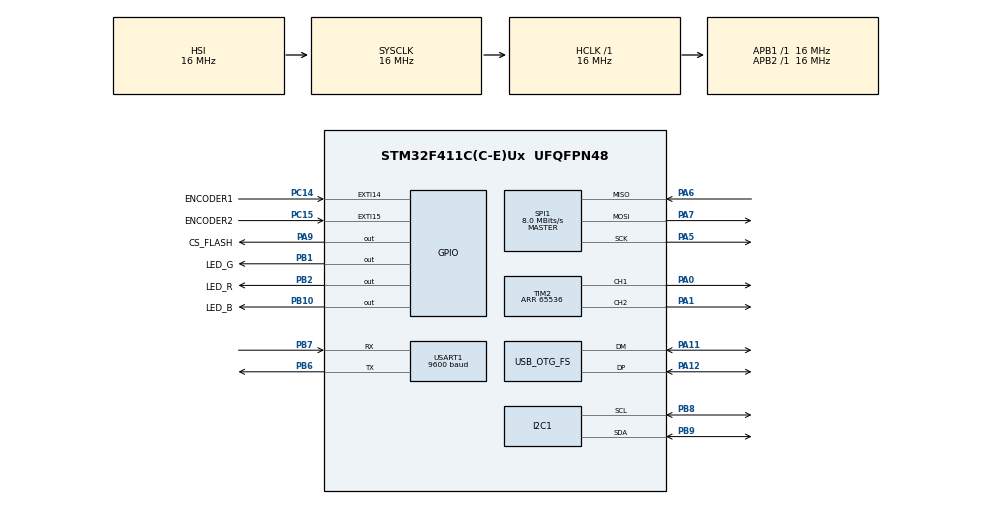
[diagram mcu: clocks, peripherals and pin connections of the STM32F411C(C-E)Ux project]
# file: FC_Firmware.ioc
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FREERTOS.BinarySemaphores01=sensor_semaphore,Dynamic,NULL,Depleted
FREERTOS.HEAP_NUMBER=4
FREERTOS.Tasks01=controller_task,24,256,controller_loop,Default,NULL,Dynamic,NULL,NULL;flash_task,8,512,flash_update,Default,NULL,Dynamic,NULL,NULL;imu_task,8,256,imu_update,Default,NULL,Dynamic,NULL,NULL;baro_task,8,256,baro_update,Default,NULL,Dynamic,NULL,NULL;gps_task,8,256,gps_update,Default,NULL,Dynamic,NULL,NULL;usb_task,8,128,usb_loop,Default,NULL,Dynamic,NULL,NULL;motor_task,8,128,motor_update,Default,NULL,Dynamic,NULL,NULL
FREERTOS.configCHECK_FOR_STACK_OVERFLOW=2
FREERTOS.configENABLE_FPU=1
FREERTOS.configTOTAL_HEAP_SIZE=65536
Mcu.Family=STM32F4
Mcu.Name=STM32F411C(C-E)Ux
Mcu.Package=UFQFPN48
NVIC.EXTI15_10_IRQn=true\:5\:0\:false\:false\:true\:true\:true\:true\:true
NVIC.I2C1_ER_IRQn=true\:5\:0\:false\:false\:true\:true\:true\:true\:true
NVIC.I2C1_EV_IRQn=true\:5\:0\:false\:false\:true\:true\:true\:true\:true
NVIC.OTG_FS_IRQn=true\:5\:0\:false\:false\:true\:true\:false\:true\:true
NVIC.PriorityGroup=NVIC_PRIORITYGROUP_4
NVIC.SPI1_IRQn=true\:5\:0\:false\:false\:true\:true\:true\:true\:true
NVIC.TIM1_UP_TIM10_IRQn=true\:15\:0\:false\:false\:true\:false\:false\:true\:true
NVIC.TimeBase=TIM1_UP_TIM10_IRQn
NVIC.TimeBaseIP=TIM10
NVIC.USART1_IRQn=true\:5\:0\:false\:false\:true\:true\:true\:true\:true
PA0-WKUP.Signal=S_TIM2_CH1_ETR
PA1.Signal=S_TIM2_CH2
PA11.Mode=Device_Only
PA11.Signal=USB_OTG_FS_DM
PA12.Mode=Device_Only
PA12.Signal=USB_OTG_FS_DP
PA5.Mode=Full_Duplex_Master
PA5.Signal=SPI1_SCK
PA6.Mode=Full_Duplex_Master
PA6.Signal=SPI1_MISO
PA7.Mode=Full_Duplex_Master
PA7.Signal=SPI1_MOSI
PA9.GPIO_Label=CS_FLASH
PA9.Signal=GPIO_Output
PB1.GPIO_Label=LED_G
PB1.Signal=GPIO_Output
PB10.GPIO_Label=LED_B
PB10.Signal=GPIO_Output
PB2.GPIO_Label=LED_R
PB2.Signal=GPIO_Output
PB6.Mode=Asynchronous
PB6.Signal=USART1_TX
PB7.Mode=Asynchronous
PB7.Signal=USART1_RX
PB8.Mode=I2C
PB8.Signal=I2C1_SCL
PB9.Mode=I2C
PB9.Signal=I2C1_SDA
PC14-OSC32_IN.GPIO_Label=ENCODER1
PC14-OSC32_IN.GPIO_ModeDefaultEXTI=GPIO_MODE_IT_RISING_FALLING
PC14-OSC32_IN.Signal=GPXTI14
PC15-OSC32_OUT.GPIO_Label=ENCODER2
PC15-OSC32_OUT.GPIO_ModeDefaultEXTI=GPIO_MODE_IT_RISING_FALLING
PC15-OSC32_OUT.Signal=GPXTI15
PH0\ -\ OSC_IN.Mode=HSE-External-Oscillator
PH0\ -\ OSC_IN.Signal=RCC_OSC_IN
PH1\ -\ OSC_OUT.Mode=HSE-External-Oscillator
PH1\ -\ OSC_OUT.Signal=RCC_OSC_OUT
ProjectManager.HeapSize=0x1600
ProjectManager.StackSize=0x6400
ProjectManager.TargetToolchain=CMake
RCC.48MHZClocksFreq_Value=48000000
RCC.AHBFreq_Value=16000000
RCC.APB1Freq_Value=16000000
RCC.APB2Freq_Value=16000000
RCC.CortexFreq_Value=16000000
RCC.HSE_VALUE=16000000
RCC.HSI_VALUE=16000000
RCC.LSE_VALUE=32768
RCC.PLLM=8
RCC.PLLN=72
RCC.PLLQ=3
RCC.SYSCLKFreq_VALUE=16000000
RCC.VCOOutputFreq_Value=144000000
SH.S_TIM2_CH1_ETR.0=TIM2_CH1,PWM Generation1 CH1
SH.S_TIM2_CH2.0=TIM2_CH2,PWM Generation2 CH2
SPI1.CalculateBaudRate=8.0 MBits/s
SPI1.Direction=SPI_DIRECTION_2LINES
SPI1.Mode=SPI_MODE_MASTER
SPI1.VirtualType=VM_MASTER
TIM2.AutoReloadPreload=TIM_AUTORELOAD_PRELOAD_ENABLE
TIM2.Channel-PWM\ Generation1\ CH1=TIM_CHANNEL_1
TIM2.Channel-PWM\ Generation2\ CH2=TIM_CHANNEL_2
TIM2.OCMode_PWM-PWM\ Generation1\ CH1=TIM_OCMODE_PWM1
TIM2.Period=65536
USART1.BaudRate=9600
USART1.VirtualMode=VM_ASYNC
USB_DEVICE.CLASS_NAME_FS=CDC
USB_DEVICE.VirtualMode=Cdc
USB_DEVICE.VirtualModeFS=Cdc_FS
USB_OTG_FS.VirtualMode=Device_Only
VP_FREERTOS_VS_CMSIS_V2.Mode=CMSIS_V2
VP_SYS_VS_tim10.Mode=TIM10
VP_TIM2_VS_ClockSourceINT.Mode=Internal
VP_USB_DEVICE_VS_USB_DEVICE_CDC_FS.Mode=CDC_FS
board=custom

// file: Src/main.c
/* USER CODE BEGIN Header */
/**
  ******************************************************************************
  * @file           : main.c
  * @brief          : Main program body
  ******************************************************************************
  * @attention
  *
  * Copyright (c) 2025 STMicroelectronics.
  * All rights reserved.
  *
  * This software is licensed under terms that can be found in the LICENSE file
  * in the root directory of this software component.
  * If no LICENSE file comes with this software, it is provided AS-IS.
  *
  ******************************************************************************
  */
/* USER CODE END Header */
#include "main.h"
#include "cmsis_os.h"
#include "usb_device.h"

/* USER CODE BEGIN Includes */
#include <airbrakes.h>
#include <cli.h>
/* USER CODE END Includes */

I2C_HandleTypeDef hi2c1;

SPI_HandleTypeDef hspi1;

TIM_HandleTypeDef htim2;

UART_HandleTypeDef huart1;

/* Definitions for controller_task */
osThreadId_t controller_taskHandle;
const osThreadAttr_t controller_task_attributes = {
  .name = "controller_task",
  .stack_size = 256 * 4,
  .priority = (osPriority_t) osPriorityNormal,
};
/* Definitions for flash_task */
osThreadId_t flash_taskHandle;
const osThreadAttr_t flash_task_attributes = {
  .name = "flash_task",
  .stack_size = 512 * 4,
  .priority = (osPriority_t) osPriorityLow,
};
/* Definitions for imu_task */
osThreadId_t imu_taskHandle;
const osThreadAttr_t imu_task_attributes = {
  .name = "imu_task",
  .stack_size = 256 * 4,
  .priority = (osPriority_t) osPriorityLow,
};
/* Definitions for baro_task */
osThreadId_t baro_taskHandle;
const osThreadAttr_t baro_task_attributes = {
  .name = "baro_task",
  .stack_size = 256 * 4,
  .priority = (osPriority_t) osPriorityLow,
};
/* Definitions for gps_task */
osThreadId_t gps_taskHandle;
const osThreadAttr_t gps_task_attributes = {
  .name = "gps_task",
  .stack_size = 256 * 4,
  .priority = (osPriority_t) osPriorityLow,
};
/* Definitions for usb_task */
osThreadId_t usb_taskHandle;
const osThreadAttr_t usb_task_attributes = {
  .name = "usb_task",
  .stack_size = 128 * 4,
  .priority = (osPriority_t) osPriorityLow,
};
/* Definitions for motor_task */
osThreadId_t motor_taskHandle;
const osThreadAttr_t motor_task_attributes = {
  .name = "motor_task",
  .stack_size = 128 * 4,
  .priority = (osPriority_t) osPriorityLow,
};
/* Definitions for sensor_semaphore */
osSemaphoreId_t sensor_semaphoreHandle;
const osSemaphoreAttr_t sensor_semaphore_attributes = {
  .name = "sensor_semaphore"
};

void SystemClock_Config(void);
static void MX_GPIO_Init(void);
static void MX_I2C1_Init(void);
static void MX_SPI1_Init(void);
static void MX_TIM2_Init(void);
static void MX_USART1_UART_Init(void);
void controller_loop(void *argument);
void flash_update(void *argument);
void imu_update(void *argument);
void baro_update(void *argument);
void gps_update(void *argument);
void usb_loop(void *argument);
void motor_update(void *argument);

int main(void)
{

  /* MCU Configuration--------------------------------------------------------*/

  /* Reset of all peripherals, Initializes the Flash interface and the Systick. */
  HAL_Init();

  /* Configure the system clock */
  SystemClock_Config();

  /* Initialize all configured peripherals */
  MX_GPIO_Init();
  MX_I2C1_Init();
  MX_SPI1_Init();
  MX_TIM2_Init();
  MX_USART1_UART_Init();

  /* Init scheduler */
  osKernelInitialize();

  /* USER CODE BEGIN RTOS_MUTEX */
  // cli_init();
  airbrakes_initialize();

  /* add mutexes, ... */
  /* USER CODE END RTOS_MUTEX */

  /* Create the semaphores(s) */
  /* creation of sensor_semaphore */
  sensor_semaphoreHandle = osSemaphoreNew(1, 0, &sensor_semaphore_attributes);

  /* Create the thread(s) */
  /* creation of controller_task */
  controller_taskHandle = osThreadNew(controller_loop, NULL, &controller_task_attributes);

  /* creation of flash_task */
  flash_taskHandle = osThreadNew(flash_update, NULL, &flash_task_attributes);

  /* creation of imu_task */
  imu_taskHandle = osThreadNew(imu_update, NULL, &imu_task_attributes);

  /* creation of baro_task */
  baro_taskHandle = osThreadNew(baro_update, NULL, &baro_task_attributes);

  /* creation of gps_task */
  gps_taskHandle = osThreadNew(gps_update, NULL, &gps_task_attributes);

  /* creation of usb_task */
  usb_taskHandle = osThreadNew(usb_loop, NULL, &usb_task_attributes);

  /* creation of motor_task */
  motor_taskHandle = osThreadNew(motor_update, NULL, &motor_task_attributes);

  /* Start scheduler */
  osKernelStart();

  /* We should never get here as control is now taken by the scheduler */

  /* Infinite loop */
  while (1)
  {

  }
}

void SystemClock_Config(void)
{
  RCC_OscInitTypeDef RCC_OscInitStruct = {0};
  RCC_ClkInitTypeDef RCC_ClkInitStruct = {0};

  /** Configure the main internal regulator output voltage
  */
  __HAL_RCC_PWR_CLK_ENABLE();
  __HAL_PWR_VOLTAGESCALING_CONFIG(PWR_REGULATOR_VOLTAGE_SCALE1);

  /** Initializes the RCC Oscillators according to the specified parameters
  * in the RCC_OscInitTypeDef structure.
  */
  RCC_OscInitStruct.OscillatorType = RCC_OSCILLATORTYPE_HSI|RCC_OSCILLATORTYPE_HSE;
  RCC_OscInitStruct.HSEState = RCC_HSE_ON;
  RCC_OscInitStruct.HSIState = RCC_HSI_ON;
  RCC_OscInitStruct.HSICalibrationValue = RCC_HSICALIBRATION_DEFAULT;
  RCC_OscInitStruct.PLL.PLLState = RCC_PLL_ON;
  RCC_OscInitStruct.PLL.PLLSource = RCC_PLLSOURCE_HSE;
  RCC_OscInitStruct.PLL.PLLM = 8;
  RCC_OscInitStruct.PLL.PLLN = 72;
  RCC_OscInitStruct.PLL.PLLP = RCC_PLLP_DIV2;
  RCC_OscInitStruct.PLL.PLLQ = 3;
  if (HAL_RCC_OscConfig(&RCC_OscInitStruct) != HAL_OK)
  {
    Error_Handler();
  }

  /** Initializes the CPU, AHB and APB buses clocks
  */
  RCC_ClkInitStruct.ClockType = RCC_CLOCKTYPE_HCLK|RCC_CLOCKTYPE_SYSCLK
                              |RCC_CLOCKTYPE_PCLK1|RCC_CLOCKTYPE_PCLK2;
  RCC_ClkInitStruct.SYSCLKSource = RCC_SYSCLKSOURCE_HSI;
  RCC_ClkInitStruct.AHBCLKDivider = RCC_SYSCLK_DIV1;
  RCC_ClkInitStruct.APB1CLKDivider = RCC_HCLK_DIV1;
  RCC_ClkInitStruct.APB2CLKDivider = RCC_HCLK_DIV1;

  if (HAL_RCC_ClockConfig(&RCC_ClkInitStruct, FLASH_LATENCY_0) != HAL_OK)
  {
    Error_Handler();
  }
}

static void MX_I2C1_Init(void)
{

  hi2c1.Instance = I2C1;
  hi2c1.Init.ClockSpeed = 100000;
  hi2c1.Init.DutyCycle = I2C_DUTYCYCLE_2;
  hi2c1.Init.OwnAddress1 = 0;
  hi2c1.Init.AddressingMode = I2C_ADDRESSINGMODE_7BIT;
  hi2c1.Init.DualAddressMode = I2C_DUALADDRESS_DISABLE;
  hi2c1.Init.OwnAddress2 = 0;
  hi2c1.Init.GeneralCallMode = I2C_GENERALCALL_DISABLE;
  hi2c1.Init.NoStretchMode = I2C_NOSTRETCH_DISABLE;
  if (HAL_I2C_Init(&hi2c1) != HAL_OK)
  {
    Error_Handler();
  }
  /* USER CODE BEGIN I2C1_Init 2 */
  hi2c1.hdmatx = NULL;
  /* USER CODE END I2C1_Init 2 */

}

static void MX_SPI1_Init(void)
{

  /* SPI1 parameter configuration*/
  hspi1.Instance = SPI1;
  hspi1.Init.Mode = SPI_MODE_MASTER;
  hspi1.Init.Direction = SPI_DIRECTION_2LINES;
  hspi1.Init.DataSize = SPI_DATASIZE_8BIT;
  hspi1.Init.CLKPolarity = SPI_POLARITY_LOW;
  hspi1.Init.CLKPhase = SPI_PHASE_1EDGE;
  hspi1.Init.NSS = SPI_NSS_SOFT;
  hspi1.Init.BaudRatePrescaler = SPI_BAUDRATEPRESCALER_2;
  hspi1.Init.FirstBit = SPI_FIRSTBIT_MSB;
  hspi1.Init.TIMode = SPI_TIMODE_DISABLE;
  hspi1.Init.CRCCalculation = SPI_CRCCALCULATION_DISABLE;
  hspi1.Init.CRCPolynomial = 10;
  if (HAL_SPI_Init(&hspi1) != HAL_OK)
  {
    Error_Handler();
  }

}

static void MX_TIM2_Init(void)
{

  TIM_ClockConfigTypeDef sClockSourceConfig = {0};
  TIM_MasterConfigTypeDef sMasterConfig = {0};
  TIM_OC_InitTypeDef sConfigOC = {0};

  htim2.Instance = TIM2;
  htim2.Init.Prescaler = 0;
  htim2.Init.CounterMode = TIM_COUNTERMODE_UP;
  htim2.Init.Period = 65536;
  htim2.Init.ClockDivision = TIM_CLOCKDIVISION_DIV1;
  htim2.Init.AutoReloadPreload = TIM_AUTORELOAD_PRELOAD_ENABLE;
  if (HAL_TIM_Base_Init(&htim2) != HAL_OK)
  {
    Error_Handler();
  }
  sClockSourceConfig.ClockSource = TIM_CLOCKSOURCE_INTERNAL;
  if (HAL_TIM_ConfigClockSource(&htim2, &sClockSourceConfig) != HAL_OK)
  {
    Error_Handler();
  }
  if (HAL_TIM_PWM_Init(&htim2) != HAL_OK)
  {
    Error_Handler();
  }
  sMasterConfig.MasterOutputTrigger = TIM_TRGO_RESET;
  sMasterConfig.MasterSlaveMode = TIM_MASTERSLAVEMODE_DISABLE;
  if (HAL_TIMEx_MasterConfigSynchronization(&htim2, &sMasterConfig) != HAL_OK)
  {
    Error_Handler();
  }
  sConfigOC.OCMode = TIM_OCMODE_PWM1;
  sConfigOC.Pulse = 0;
  sConfigOC.OCPolarity = TIM_OCPOLARITY_HIGH;
  sConfigOC.OCFastMode = TIM_OCFAST_DISABLE;
  if (HAL_TIM_PWM_ConfigChannel(&htim2, &sConfigOC, TIM_CHANNEL_1) != HAL_OK)
  {
    Error_Handler();
  }
  if (HAL_TIM_PWM_ConfigChannel(&htim2, &sConfigOC, TIM_CHANNEL_2) != HAL_OK)
  {
    Error_Handler();
  }
  HAL_TIM_MspPostInit(&htim2);

}

static void MX_USART1_UART_Init(void)
{

  huart1.Instance = USART1;
  huart1.Init.BaudRate = 9600;
  huart1.Init.WordLength = UART_WORDLENGTH_8B;
  huart1.Init.StopBits = UART_STOPBITS_1;
  huart1.Init.Parity = UART_PARITY_NONE;
  huart1.Init.Mode = UART_MODE_TX_RX;
  huart1.Init.HwFlowCtl = UART_HWCONTROL_NONE;
  huart1.Init.OverSampling = UART_OVERSAMPLING_16;
  if (HAL_UART_Init(&huart1) != HAL_OK)
  {
    Error_Handler();
  }

}

static void MX_GPIO_Init(void)
{
  GPIO_InitTypeDef GPIO_InitStruct = {0};

  /* GPIO Ports Clock Enable */
  __HAL_RCC_GPIOC_CLK_ENABLE();
  __HAL_RCC_GPIOH_CLK_ENABLE();
  __HAL_RCC_GPIOA_CLK_ENABLE();
  __HAL_RCC_GPIOB_CLK_ENABLE();

  /*Configure GPIO pin Output Level */
  HAL_GPIO_WritePin(GPIOB, LED_G_Pin|LED_R_Pin|LED_B_Pin, GPIO_PIN_RESET);

  /*Configure GPIO pin Output Level */
  HAL_GPIO_WritePin(CS_FLASH_GPIO_Port, CS_FLASH_Pin, GPIO_PIN_RESET);

  /*Configure GPIO pins : ENCODER1_Pin ENCODER2_Pin */
  GPIO_InitStruct.Pin = ENCODER1_Pin|ENCODER2_Pin;
  GPIO_InitStruct.Mode = GPIO_MODE_IT_RISING_FALLING;
  GPIO_InitStruct.Pull = GPIO_NOPULL;
  HAL_GPIO_Init(GPIOC, &GPIO_InitStruct);

  /*Configure GPIO pins : LED_G_Pin LED_R_Pin LED_B_Pin */
  GPIO_InitStruct.Pin = LED_G_Pin|LED_R_Pin|LED_B_Pin;
  GPIO_InitStruct.Mode = GPIO_MODE_OUTPUT_PP;
  GPIO_InitStruct.Pull = GPIO_NOPULL;
  GPIO_InitStruct.Speed = GPIO_SPEED_FREQ_LOW;
  HAL_GPIO_Init(GPIOB, &GPIO_InitStruct);

  /*Configure GPIO pin : CS_FLASH_Pin */
  GPIO_InitStruct.Pin = CS_FLASH_Pin;
  GPIO_InitStruct.Mode = GPIO_MODE_OUTPUT_PP;
  GPIO_InitStruct.Pull = GPIO_NOPULL;
  GPIO_InitStruct.Speed = GPIO_SPEED_FREQ_LOW;
  HAL_GPIO_Init(CS_FLASH_GPIO_Port, &GPIO_InitStruct);

  /* EXTI interrupt init*/
  HAL_NVIC_SetPriority(EXTI15_10_IRQn, 5, 0);
  HAL_NVIC_EnableIRQ(EXTI15_10_IRQn);

}

void controller_loop(void *argument)
{
  /* init code for USB_DEVICE */
  MX_USB_DEVICE_Init();
  /* USER CODE BEGIN 5 */

  HAL_GPIO_WritePin(LED_R_GPIO_Port, LED_R_Pin, GPIO_PIN_SET);
  HAL_GPIO_WritePin(LED_G_GPIO_Port, LED_G_Pin, GPIO_PIN_SET);
  HAL_GPIO_WritePin(LED_B_GPIO_Port, LED_B_Pin, GPIO_PIN_SET);

  airbrakes_imu_update();
  airbrakes_start();

  /* Infinite loop */

  osSemaphoreRelease(sensor_semaphoreHandle);

  for(;;)
  {
    // cli_poll();
    airbrakes_step();

    osDelay(10);
  }
  /* USER CODE END 5 */
}

void flash_update(void *argument)
{
  /* USER CODE BEGIN flash_update */
  /* Infinite loop */
  for(;;)
  {
    airbrakes_flash_pop_and_write();
    osDelay(40);
  }
  /* USER CODE END flash_update */
}

void imu_update(void *argument)
{
  /* USER CODE BEGIN imu_update */
  /* Infinite loop */
  for(;;)
  {
    airbrakes_imu_update();

    osDelay(40);
  }
  /* USER CODE END imu_update */
}

void baro_update(void *argument)
{
  /* USER CODE BEGIN baro_update */
  /* Infinite loop */
  for(;;)
  {
    airbrakes_baro_update();

    osDelay(40);
  }
  /* USER CODE END baro_update */
}

void gps_update(void *argument)
{
  /* USER CODE BEGIN gps_update */
  /* Infinite loop */
  for(;;)
  {
    airbrakes_blink_leds();
    osDelay(500);
    //airbrakes_gps_update();
  }
  /* USER CODE END gps_update */
}

void usb_loop(void *argument)
{
  /* USER CODE BEGIN usb_loop */
  /* Infinite loop */
  for(;;)
  {
    cli_process_tx();
    osDelay(1);
  }
  /* USER CODE END usb_loop */
}

void motor_update(void *argument)
{
  /* USER CODE BEGIN motor_update */
  /* Infinite loop */
  for(;;)
  {
    airbrakes_motor_update(0.010f);
    osDelay(10);
  }
  /* USER CODE END motor_update */
}

void HAL_TIM_PeriodElapsedCallback(TIM_HandleTypeDef *htim)
{
  if (htim->Instance == TIM10)
  {
    HAL_IncTick();
  }
}

void Error_Handler(void)
{
  __disable_irq();
  while (1)
  {
  }
}
